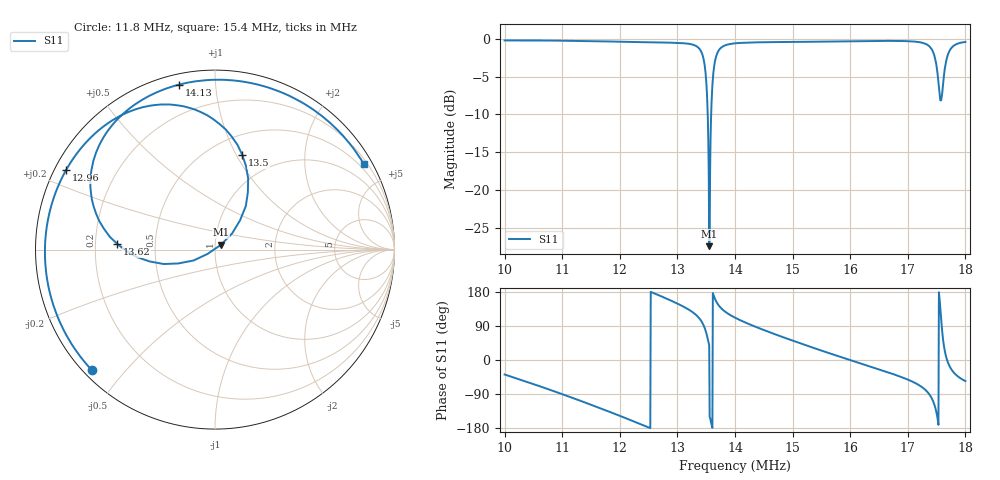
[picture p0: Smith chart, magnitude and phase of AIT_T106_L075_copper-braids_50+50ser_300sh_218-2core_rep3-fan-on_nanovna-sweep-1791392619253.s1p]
! NanoVNA Web complex sweep
! Processing: unaveraged complex samples; linear segment spacing; no smoothing
# Hz S RI R 50
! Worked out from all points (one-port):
!   1010 points, 10 MHz to 18 MHz, reference 50 ohm
!   lowest |S11| = -27.4 dB at 13.55 MHz (marker M1), VSWR 1.09, Z = 53.3 + j2.85 ohm
!   |S11| at or under -10 dB: 13.52617 MHz to 13.5862 MHz (60.02 kHz wide, 0.443 % of centre)
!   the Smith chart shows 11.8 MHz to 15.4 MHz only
!   S11 on the Smith chart (normalised r, x): 11.8 MHz: 0.02, -0.41; 12.96 MHz: 0.03, +0.25; 13.5 MHz: 0.70, +1.06; 13.62 MHz: 0.29, +0.03; 14.13 MHz: 0.05, +0.81; 15.4 MHz: 0.33, +3.69
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1e7  0.7654 -0.6035
1.100698e7  -0.00895 -0.9718
1.179988e7  -0.6844 -0.6735
1.200604e7  -0.8082 -0.5114
1.295752e7  -0.83 0.4426
1.300509e7  -0.8008 0.4908
1.337775e7  -0.3025 0.8084
1.349669e7  0.1517 0.5284
1.355219e7  0.033 0.0267
1.358391e7  -0.2856 -0.0804
1.361562e7  -0.5445 0.0317
1.367113e7  -0.6913 0.3181
1.376628e7  -0.6279 0.6134
1.400414e7  -0.3408 0.869
1.413101e7  -0.1985 0.9196
1.50032e7  0.6002 0.7408
1.539965e7  0.8275 0.4793
1.600225e7  0.9616 -0.00429
1.700131e7  0.5964 -0.7575
1.724711e7  0.2974 -0.8941
1.740569e7  -0.1217 -0.8552
1.746912e7  -0.3899 -0.6448
1.752462e7  -0.5234 -0.1727
1.760391e7  0.1916 0.422
1.765148e7  0.632 0.1998
1.770699e7  0.7918 -0.1426
1.782592e7  0.7253 -0.5561
1.800036e7  0.538 -0.7869
